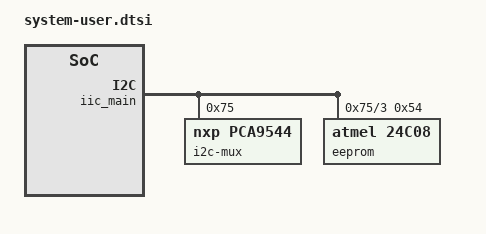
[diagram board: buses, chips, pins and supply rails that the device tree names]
/include/ "system-conf.dtsi"
/ {
};

&iic_main {
	#address-cells = <1>;
	#size-cells = <0>;
	i2c-mux@75 {
		compatible = "nxp,pca9544";
		#address-cells = <1>;
		#size-cells = <0>;
		reg = <0x75>;
		i2c@3 {
			#address-cells = <1>;
			#size-cells = <0>;
			reg = <3>;
			eeprom@54 {
				compatible = "atmel,24c08";
				reg = <0x54>;
			};
		};
	};
};

